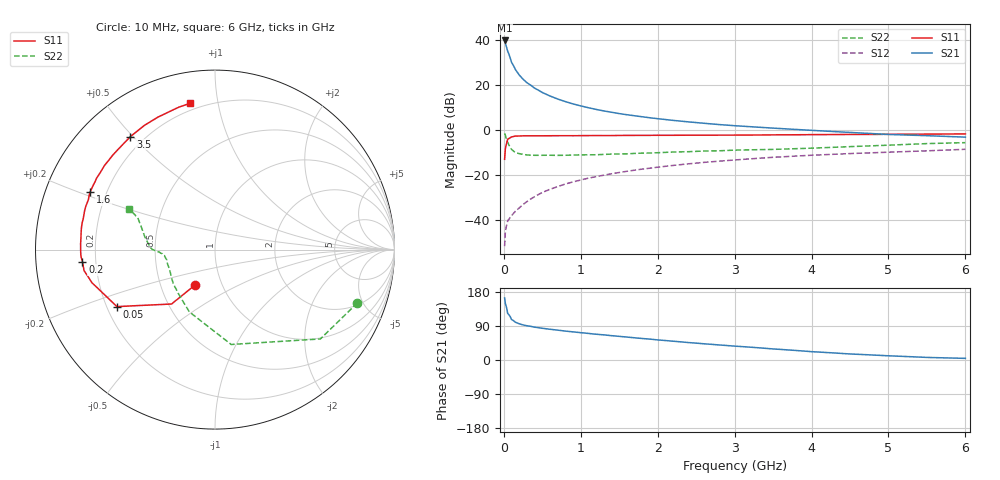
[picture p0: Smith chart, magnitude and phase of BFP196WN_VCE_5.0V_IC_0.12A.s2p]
! Infineon Technologies  Discrete & RF Semiconductors
! BFP196WN
! VCE =  5.0 V,  IC = 0.12 A
! Common Emitter S-Parameters:  Jan 2017
# GHz  S  MA  R  50
!  f  S11  S21  S12  S22
! GHz  MAG  ANG  MAG  ANG  MAG  ANG  MAG  ANG
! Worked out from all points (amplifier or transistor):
!   77 points, 10 MHz to 6 GHz, reference 50 ohm
!   highest |S21| = 40.0 dB at 10 MHz (marker M1)
!   |S21| within 3 dB of that: start of sweep to 35.06 MHz
!   unconditionally stable (mu >= 1): 388.2 MHz to 2.483 GHz
!   at 130 MHz: K = 0.75, MSG = 32.7 dB, |S12| = -36.9 dB
!   at 2.2 GHz: K = 1.02, MAG = 9.3 dB, |S12| = -15.7 dB
!   at 6 GHz: K = 0.91, MSG = 2.7 dB, |S12| = -8.5 dB
!   S11 on the Smith chart (normalised r, x): 10 MHz: 0.75, -0.31; 50 MHz: 0.24, -0.26; 200 MHz: 0.15, -0.05; 1.6 GHz: 0.14, +0.22; 3.5 GHz: 0.15, +0.49; 6 GHz: 0.16, +0.83
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0.01  0.2246 -119.2  100 163.9  0.0026 78.5  0.8475 -20.5
0.02  0.3878 -128.6  87.67 148.8  0.0055 66.9  0.7697 -40.3
0.05  0.6318 -149.8  57.62 122.7  0.0095 51.7  0.5363 -80.3
0.1  0.7098 -164.9  32.58 106.7  0.0123 55.0  0.3754 -112.4
0.15  0.7388 -170.9  22.5 99.7  0.0156 58.4  0.319 -129.8
0.2  0.7415 -174.7  17.02 95.6  0.0185 63.9  0.3003 -140.5
0.25  0.7477 -177.1  13.69 92.5  0.0221 66.6  0.2892 -146.8
0.3  0.7485 -179.2  11.46 90.4  0.0256 67.7  0.2803 -152.3
0.4  0.7494 177.4  8.644 86.6  0.033 70.4  0.2756 -158.2
0.5  0.7497 175.0  6.918 83.7  0.0408 71.7  0.276 -162.5
0.6  0.7518 172.8  5.782 81.1  0.0482 72.5  0.2765 -165.7
0.7  0.7539 170.8  4.949 78.8  0.0552 73.5  0.2746 -167.7
0.9  0.754 166.7  3.85 74.2  0.0703 72.6  0.2792 -170.3
1.1  0.758 163.4  3.163 70.1  0.0854 72.1  0.2826 -172.7
1.3  0.7583 159.9  2.687 66.3  0.0994 70.8  0.2884 -173.6
1.6  0.766 155.2  2.211 60.5  0.1213 68.9  0.2972 -175.7
2.1  0.77 147.4  1.729 51.4  0.1567 64.9  0.3203 -178.0
3.1  0.7776 132.6  1.228 35.3  0.2231 56.1  0.3621 177.6
3.5  0.7866 126.8  1.112 29.2  0.2487 52.7  0.3731 174.9
4.1  0.7968 118.4  0.971 20.9  0.2812 47.2  0.4036 168.2
5.1  0.8108 107.6  0.794 10.3  0.3278 39.2  0.471 157.4
6  0.8267 99.8  0.7 4.3  0.375 33.0  0.5281 154.9
